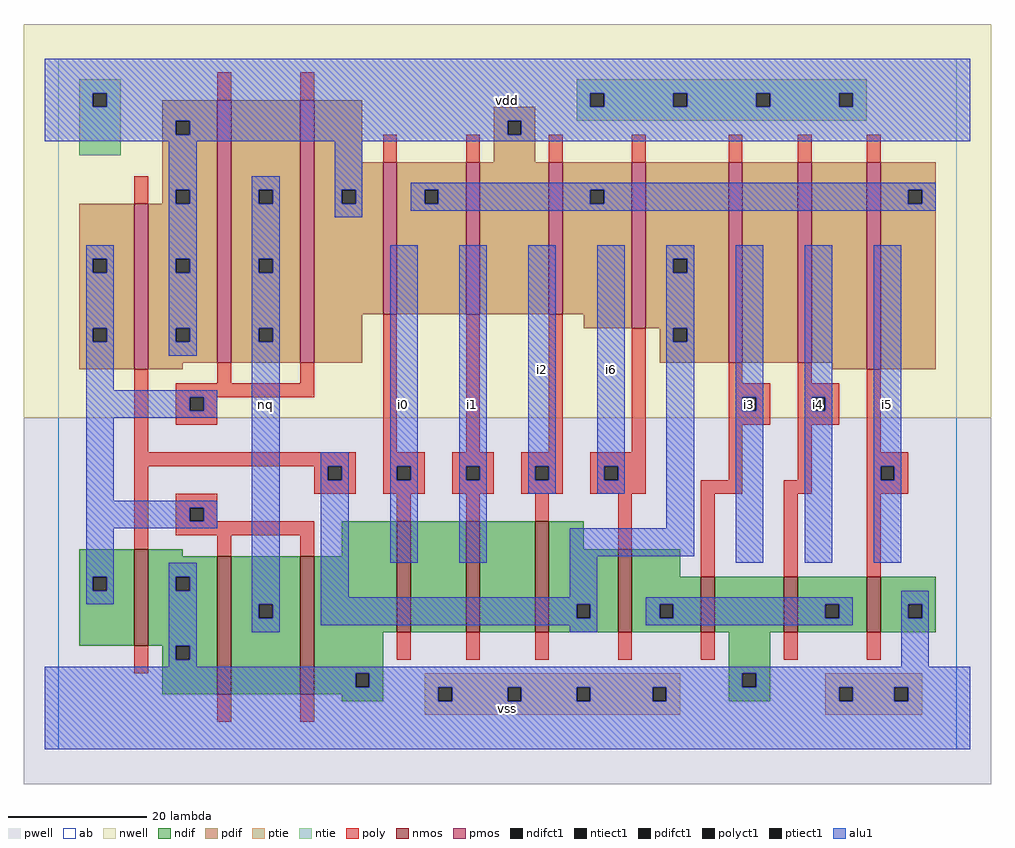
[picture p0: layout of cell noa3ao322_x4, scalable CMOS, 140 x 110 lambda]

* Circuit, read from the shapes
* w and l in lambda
.subckt noa3ao322_x4 i0 i1 i2 i3 i4 i5 i6 nq vdd vss
M1 vss n1 n2 vss nfet w=14 l=2
M2 nq n2 vss vss nfet w=20 l=2 m=2
M3 n3 i0 vss vss nfet w=16 l=2
M4 n4 i1 n3 vss nfet w=16 l=2
M5 n1 i2 n4 vss nfet w=16 l=2
M6 n5 i6 n1 vss nfet w=12 l=2
M7 vss i3 n5 vss nfet w=8 l=2
M8 n5 i4 vss vss nfet w=8 l=2
M9 vss i5 n5 vss nfet w=8 l=2
M10 vdd n1 n2 vdd pfet w=24 l=2
M11 nq n2 vdd vdd pfet w=38 l=2 m=2
M12 n6 i0 vdd vdd pfet w=22 l=2
M13 vdd i1 n6 vdd pfet w=22 l=2
M14 n6 i2 vdd vdd pfet w=22 l=2
M15 n1 i6 n6 vdd pfet w=24 l=2
M16 n7 i3 n1 vdd pfet w=29 l=2
M17 n8 i4 n7 vdd pfet w=29 l=2
M18 n6 i5 n8 vdd pfet w=30 l=2
.ends

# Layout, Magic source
magic
tech scmos
<< ab >>
rect 0 0 130 100
<< nwell >>
rect -5 48 135 105
<< pwell >>
rect -5 -5 135 48
<< poly >>
rect 23 94 25 98
rect 35 94 37 98
rect 11 79 13 83
rect 47 85 49 89
rect 59 85 61 89
rect 71 85 73 89
rect 83 85 85 89
rect 97 85 99 89
rect 107 85 109 89
rect 117 85 119 89
rect 11 43 13 55
rect 23 53 25 56
rect 35 53 37 56
rect 17 51 37 53
rect 17 49 19 51
rect 21 49 23 51
rect 17 47 23 49
rect 47 43 49 63
rect 59 43 61 63
rect 71 43 73 63
rect 83 43 85 61
rect 11 41 43 43
rect 11 29 13 41
rect 37 39 39 41
rect 41 39 43 41
rect 37 37 43 39
rect 47 41 53 43
rect 47 39 49 41
rect 51 39 53 41
rect 47 37 53 39
rect 57 41 63 43
rect 57 39 59 41
rect 61 39 63 41
rect 57 37 63 39
rect 67 41 73 43
rect 67 39 69 41
rect 71 39 73 41
rect 67 37 73 39
rect 77 41 85 43
rect 77 39 79 41
rect 81 39 85 41
rect 97 53 99 56
rect 107 53 109 56
rect 97 51 103 53
rect 97 49 99 51
rect 101 49 103 51
rect 97 47 103 49
rect 107 51 113 53
rect 107 49 109 51
rect 111 49 113 51
rect 107 47 113 49
rect 97 39 99 47
rect 107 39 109 47
rect 77 37 85 39
rect 93 37 99 39
rect 105 37 109 39
rect 117 43 119 55
rect 117 41 123 43
rect 117 39 119 41
rect 121 39 123 41
rect 117 37 123 39
rect 17 35 23 37
rect 17 33 19 35
rect 21 33 23 35
rect 49 33 51 37
rect 59 33 61 37
rect 69 33 71 37
rect 17 31 37 33
rect 23 28 25 31
rect 35 28 37 31
rect 11 11 13 15
rect 81 29 83 37
rect 93 25 95 37
rect 105 25 107 37
rect 117 25 119 37
rect 49 13 51 17
rect 59 13 61 17
rect 69 13 71 17
rect 81 13 83 17
rect 93 13 95 17
rect 105 13 107 17
rect 117 13 119 17
rect 23 4 25 8
rect 35 4 37 8
<< ndif >>
rect 3 25 11 29
rect 3 23 5 25
rect 7 23 11 25
rect 3 15 11 23
rect 13 28 18 29
rect 41 28 49 33
rect 13 25 23 28
rect 13 23 17 25
rect 19 23 23 25
rect 13 15 23 23
rect 15 13 17 15
rect 19 13 23 15
rect 15 8 23 13
rect 25 21 35 28
rect 25 19 29 21
rect 31 19 35 21
rect 25 8 35 19
rect 37 17 49 28
rect 51 17 59 33
rect 61 17 69 33
rect 71 29 76 33
rect 71 21 81 29
rect 71 19 75 21
rect 77 19 81 21
rect 71 17 81 19
rect 83 25 90 29
rect 83 21 93 25
rect 83 19 87 21
rect 89 19 93 21
rect 83 17 93 19
rect 95 17 105 25
rect 107 21 117 25
rect 107 19 111 21
rect 113 19 117 21
rect 107 17 117 19
rect 119 21 127 25
rect 119 19 123 21
rect 125 19 127 21
rect 119 17 127 19
rect 37 11 47 17
rect 97 11 103 17
rect 37 9 43 11
rect 45 9 47 11
rect 37 8 47 9
rect 41 7 47 8
rect 97 9 99 11
rect 101 9 103 11
rect 97 7 103 9
<< pdif >>
rect 15 91 23 94
rect 15 89 17 91
rect 19 89 23 91
rect 15 81 23 89
rect 15 79 17 81
rect 19 79 23 81
rect 3 71 11 79
rect 3 69 5 71
rect 7 69 11 71
rect 3 61 11 69
rect 3 59 5 61
rect 7 59 11 61
rect 3 55 11 59
rect 13 71 23 79
rect 13 69 17 71
rect 19 69 23 71
rect 13 61 23 69
rect 13 59 17 61
rect 19 59 23 61
rect 13 56 23 59
rect 25 81 35 94
rect 25 79 29 81
rect 31 79 35 81
rect 25 71 35 79
rect 25 69 29 71
rect 31 69 35 71
rect 25 61 35 69
rect 25 59 29 61
rect 31 59 35 61
rect 25 56 35 59
rect 37 85 44 94
rect 63 91 69 93
rect 63 89 65 91
rect 67 89 69 91
rect 63 85 69 89
rect 37 81 47 85
rect 37 79 41 81
rect 43 79 47 81
rect 37 63 47 79
rect 49 81 59 85
rect 49 79 53 81
rect 55 79 59 81
rect 49 63 59 79
rect 61 63 71 85
rect 73 81 83 85
rect 73 79 77 81
rect 79 79 83 81
rect 73 63 83 79
rect 37 56 44 63
rect 13 55 18 56
rect 76 61 83 63
rect 85 71 97 85
rect 85 69 89 71
rect 91 69 97 71
rect 85 61 97 69
rect 87 59 89 61
rect 91 59 97 61
rect 87 56 97 59
rect 99 56 107 85
rect 109 56 117 85
rect 112 55 117 56
rect 119 81 127 85
rect 119 79 123 81
rect 125 79 127 81
rect 119 55 127 79
<< alu1 >>
rect -2 95 132 100
rect -2 93 5 95
rect 7 93 77 95
rect 79 93 89 95
rect 91 93 101 95
rect 103 93 113 95
rect 115 93 132 95
rect -2 91 132 93
rect -2 89 17 91
rect 19 89 65 91
rect 67 89 132 91
rect -2 88 132 89
rect 16 81 20 88
rect 16 79 17 81
rect 19 79 20 81
rect 4 71 8 73
rect 4 69 5 71
rect 7 69 8 71
rect 4 61 8 69
rect 4 59 5 61
rect 7 59 8 61
rect 4 52 8 59
rect 16 71 20 79
rect 16 69 17 71
rect 19 69 20 71
rect 16 61 20 69
rect 16 59 17 61
rect 19 59 20 61
rect 16 57 20 59
rect 28 81 32 83
rect 28 79 29 81
rect 31 79 32 81
rect 28 71 32 79
rect 40 81 44 88
rect 40 79 41 81
rect 43 79 44 81
rect 40 77 44 79
rect 51 81 127 82
rect 51 79 53 81
rect 55 79 77 81
rect 79 79 123 81
rect 125 79 127 81
rect 51 78 127 79
rect 28 69 29 71
rect 31 69 32 71
rect 28 61 32 69
rect 28 59 29 61
rect 31 59 32 61
rect 4 51 23 52
rect 4 49 19 51
rect 21 49 23 51
rect 4 48 23 49
rect 4 36 8 48
rect 4 35 23 36
rect 4 33 19 35
rect 21 33 23 35
rect 4 32 23 33
rect 4 25 8 32
rect 4 23 5 25
rect 7 23 8 25
rect 4 21 8 23
rect 16 25 20 27
rect 16 23 17 25
rect 19 23 20 25
rect 16 15 20 23
rect 28 21 32 59
rect 28 19 29 21
rect 31 19 32 21
rect 28 17 32 19
rect 38 41 42 43
rect 38 39 39 41
rect 41 39 42 41
rect 38 22 42 39
rect 48 41 52 73
rect 48 39 49 41
rect 51 39 52 41
rect 48 27 52 39
rect 58 41 62 73
rect 58 39 59 41
rect 61 39 62 41
rect 58 27 62 39
rect 68 41 72 73
rect 68 39 69 41
rect 71 39 72 41
rect 68 37 72 39
rect 78 41 82 73
rect 78 39 79 41
rect 81 39 82 41
rect 78 37 82 39
rect 88 71 92 73
rect 88 69 89 71
rect 91 69 92 71
rect 88 61 92 69
rect 88 59 89 61
rect 91 59 92 61
rect 88 32 92 59
rect 74 28 92 32
rect 98 51 102 73
rect 98 49 99 51
rect 101 49 102 51
rect 74 22 78 28
rect 98 27 102 49
rect 108 51 112 73
rect 108 49 109 51
rect 111 49 112 51
rect 108 27 112 49
rect 118 41 122 73
rect 118 39 119 41
rect 121 39 122 41
rect 118 27 122 39
rect 38 21 78 22
rect 38 19 75 21
rect 77 19 78 21
rect 38 18 78 19
rect 85 21 115 22
rect 85 19 87 21
rect 89 19 111 21
rect 113 19 115 21
rect 85 18 115 19
rect 122 21 126 23
rect 122 19 123 21
rect 125 19 126 21
rect 74 17 78 18
rect 16 13 17 15
rect 19 13 20 15
rect 16 12 20 13
rect 122 12 126 19
rect -2 11 132 12
rect -2 9 43 11
rect 45 9 99 11
rect 101 9 132 11
rect -2 7 55 9
rect 57 7 65 9
rect 67 7 75 9
rect 77 7 86 9
rect 88 7 113 9
rect 115 7 121 9
rect 123 7 132 9
rect -2 0 132 7
<< ptie >>
rect 53 9 90 11
rect 53 7 55 9
rect 57 7 65 9
rect 67 7 75 9
rect 77 7 86 9
rect 88 7 90 9
rect 111 9 125 11
rect 111 7 113 9
rect 115 7 121 9
rect 123 7 125 9
rect 53 5 90 7
rect 111 5 125 7
<< ntie >>
rect 3 95 9 97
rect 3 93 5 95
rect 7 93 9 95
rect 75 95 117 97
rect 3 86 9 93
rect 75 93 77 95
rect 79 93 89 95
rect 91 93 101 95
rect 103 93 113 95
rect 115 93 117 95
rect 75 91 117 93
<< nmos >>
rect 11 15 13 29
rect 23 8 25 28
rect 35 8 37 28
rect 49 17 51 33
rect 59 17 61 33
rect 69 17 71 33
rect 81 17 83 29
rect 93 17 95 25
rect 105 17 107 25
rect 117 17 119 25
<< pmos >>
rect 11 55 13 79
rect 23 56 25 94
rect 35 56 37 94
rect 47 63 49 85
rect 59 63 61 85
rect 71 63 73 85
rect 83 61 85 85
rect 97 56 99 85
rect 107 56 109 85
rect 117 55 119 85
<< polyct1 >>
rect 19 49 21 51
rect 39 39 41 41
rect 49 39 51 41
rect 59 39 61 41
rect 69 39 71 41
rect 79 39 81 41
rect 99 49 101 51
rect 109 49 111 51
rect 119 39 121 41
rect 19 33 21 35
<< ndifct1 >>
rect 5 23 7 25
rect 17 23 19 25
rect 17 13 19 15
rect 29 19 31 21
rect 75 19 77 21
rect 87 19 89 21
rect 111 19 113 21
rect 123 19 125 21
rect 43 9 45 11
rect 99 9 101 11
<< ntiect1 >>
rect 5 93 7 95
rect 77 93 79 95
rect 89 93 91 95
rect 101 93 103 95
rect 113 93 115 95
<< ptiect1 >>
rect 55 7 57 9
rect 65 7 67 9
rect 75 7 77 9
rect 86 7 88 9
rect 113 7 115 9
rect 121 7 123 9
<< pdifct1 >>
rect 17 89 19 91
rect 17 79 19 81
rect 5 69 7 71
rect 5 59 7 61
rect 17 69 19 71
rect 17 59 19 61
rect 29 79 31 81
rect 29 69 31 71
rect 29 59 31 61
rect 65 89 67 91
rect 41 79 43 81
rect 53 79 55 81
rect 77 79 79 81
rect 89 69 91 71
rect 89 59 91 61
rect 123 79 125 81
<< labels >>
rlabel alu1 50 50 50 50 6 i0
rlabel alu1 60 50 60 50 6 i1
rlabel alu1 30 50 30 50 6 nq
rlabel alu1 65 6 65 6 6 vss
rlabel alu1 80 55 80 55 6 i6
rlabel alu1 70 55 70 55 6 i2
rlabel alu1 65 94 65 94 6 vdd
rlabel polyct1 110 50 110 50 6 i4
rlabel alu1 120 50 120 50 6 i5
rlabel polyct1 100 50 100 50 6 i3
<< end >>
